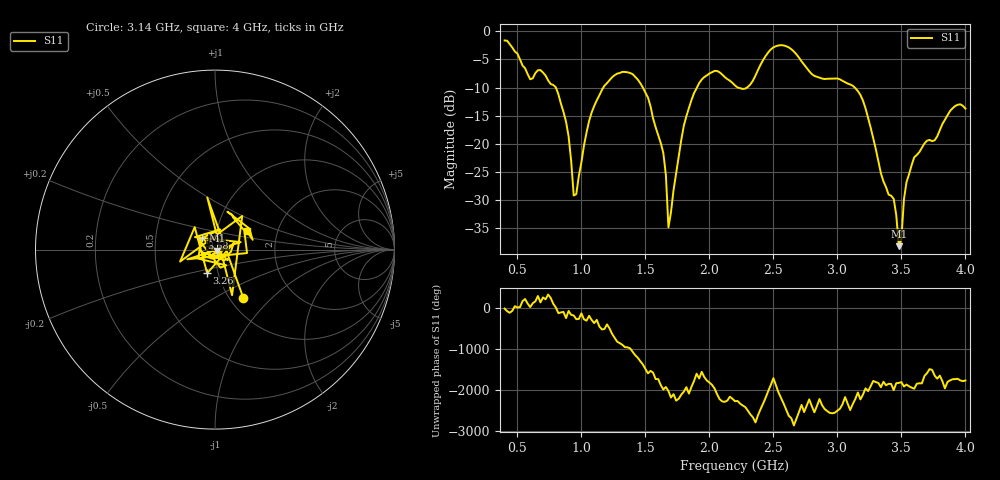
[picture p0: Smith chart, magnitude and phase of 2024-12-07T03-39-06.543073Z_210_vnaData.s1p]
!Created with skrf (http://scikit-rf.org).
# Hz S RI R 50.0
!freq ReS11 ImS11
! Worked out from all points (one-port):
!   181 points, 400 MHz to 4 GHz, reference 50 ohm
!   lowest |S11| = -38.3 dB at 3.48 GHz (marker M1), VSWR 1.02, Z = 51.1 - j0.589 ohm
!   |S11| at or under -10 dB: 800.6 MHz to 1.172 GHz (371.1 MHz wide, 37.6 % of centre); 1.48 GHz to 1.903 GHz (423.2 MHz wide, 25 % of centre); 3.135 GHz to end of sweep (the widest 3 of 4)
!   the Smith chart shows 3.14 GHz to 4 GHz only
!   S11 on the Smith chart (normalised r, x): 3.14 GHz: 1.15, -0.69; 3.26 GHz: 0.89, -0.24; 3.68 GHz: 0.85, +0.11; 4 GHz: 1.40, +0.30
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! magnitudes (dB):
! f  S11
! 400 MHz  -1.6
! 600 MHz  -8.5
! 800 MHz  -10.0
! 860 MHz  -14.4
! 900 MHz  -18.7
! 940 MHz  -29.3
! 960 MHz  -29.0
! 1.08 GHz  -14.5
! 1.3 GHz  -7.4
! 1.52 GHz  -11.8
! 1.64 GHz  -21.7
! 1.66 GHz  -25.6
! 1.68 GHz  -34.9
! 1.76 GHz  -22.3
! 1.82 GHz  -15.1
! 1.94 GHz  -8.6
! 2.2 GHz  -9.6
! 2.5 GHz  -2.8
! 2.66 GHz  -3.6
! 3.1 GHz  -9.5
! 3.14 GHz  -10.1
! 3.26 GHz  -17.2
! 3.36 GHz  -26.8
! 3.44 GHz  -29.9
! 3.48 GHz  -38.3
! 3.56 GHz  -25.5
! 3.68 GHz  -20.0
! 4 GHz  -13.8
